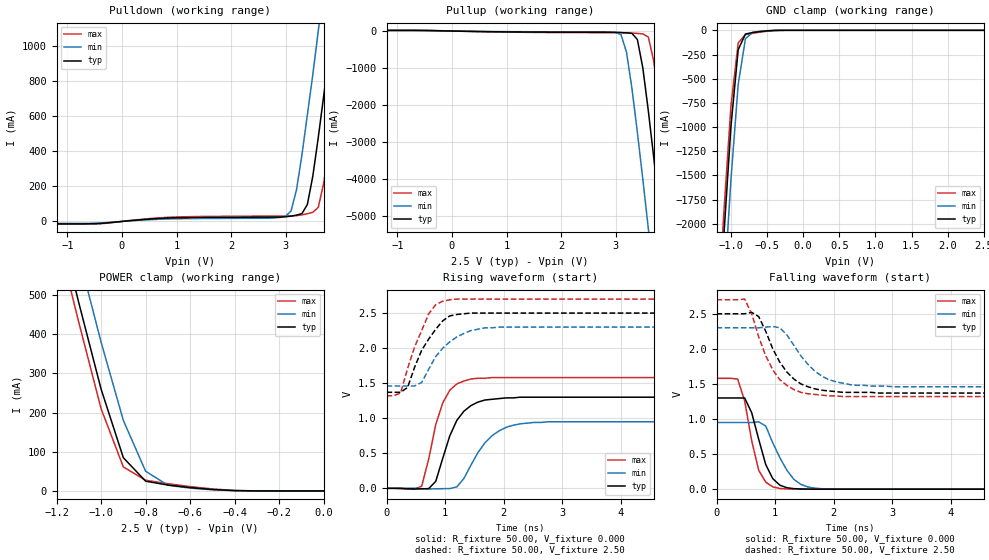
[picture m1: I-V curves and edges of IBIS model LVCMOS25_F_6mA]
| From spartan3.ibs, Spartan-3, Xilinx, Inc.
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|   Model LVCMOS25_F_6mA
[Model]   LVCMOS25_F_6mA
Model_type   I/O
Polarity   Non-Inverting
Enable   Active-Low
Vinl =   0.70V
Vinh =   1.70V
Vmeas =   1.25V
Cref =  0.000F
Rref =   1.00M
Vref =  0.000V
C_comp   6.38pF   4.60pF   8.23pF
[Temperature Range]   25.00   85.00   0.000
[Voltage Range]   2.50V   2.30V   2.70V
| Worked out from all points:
|   slope of the pulldown table from 0 to 0.375 V, typ, clamps not added: 35.8 ohm
|   slope of the pullup table from 0 to 0.375 V, typ, clamps not added: 34.9 ohm
|   GND clamp passes 1 mA (typ) near -0.38 V on its own axis
|   POWER clamp passes 1 mA (typ) near -0.41 V on its own axis
|   rising waveform, R_fixture 50.00, V_fixture 0.000: 20-80 % time 366ps typ, 466ps min, 301ps max; typ from 0 V to 1.3 V
|   rising waveform, R_fixture 50.00, V_fixture 2.50: 20-80 % time 419ps typ, 477ps min, 366ps max; typ from 1.37 V to 2.5 V
|   falling waveform, R_fixture 50.00, V_fixture 0.000: 20-80 % time 278ps typ, 364ps min, 228ps max; typ from 1.3 V to 0 V
|   falling waveform, R_fixture 50.00, V_fixture 2.50: 20-80 % time 463ps typ, 515ps min, 422ps max; typ from 2.5 V to 1.37 V
[Pulldown]
| voltage   I(typ)   I(min)   I(max)
-2.5V     -13.92mA   -11.1mA    -14.9mA
3V        26.47mA    29.6mA     30.78mA
3.1V      30.39mA    59.79mA    31.12mA
3.2V      36.13mA    180mA      32.96mA
3.4V      97.11mA    610mA      44.11mA
3.5V      260mA      840mA      52.23mA
3.6V      480mA      1.09A      80.71mA
3.7V      720mA      1.34A      220mA
3.8V      960mA      1.59A      430mA
4V        1.47A      2.1A       910mA
4.2V      1.98A      2.62A      1.42A
5V        4.06A      4.7A       3.49A
[Pullup]
| voltage   I(typ)   I(min)   I(max)
-2.5V     17.35mA    13.28mA    19.42mA
3.1V      -40.86mA   -100mA     -46.53mA
3.2V      -49.08mA   -570mA     -48.77mA
3.3V      -63.85mA   -1.55A     -54.99mA
3.4V      -230mA     -2.74A     -64.61mA
3.5V      -1A        -4.01A     -77.42mA
3.6V      -2.15A     -5.33A     -160mA
3.7V      -3.42A     -6.68A     -810mA
3.8V      -4.74A     -8.04A     -1.93A
4V        -7.47A     -10.81A    -4.51A
4.2V      -10.24A    -13.6A     -7.24A
5V        -21.56A    -24.91A    -18.51A
[GND_clamp]
| voltage   I(typ)   I(min)   I(max)
-2.5V     -21.56A    -22.07A    -21.35A
-1.2V     -3.41A     -4.01A     -3.17A
-1.1V     -2.14A     -2.73A     -1.9A
-1V       -990mA     -1.54A     -780mA
-900mV    -200mA     -560mA     -130mA
-800mV    -38.51mA   -87.42mA   -44.56mA
-700mV    -22.72mA   -20.52mA   -30.56mA
-400mV    -1.21mA    -970uA     -2.67mA
2.5V      19.29nA    8.49uA     24.01nA
[POWER_clamp]
| voltage   I(typ)   I(min)   I(max)
-2.5V     4.06A      4.18A      4.02A
-1.2V     710mA      840mA      660mA
-1.1V     480mA      600mA      430mA
-1V       260mA      380mA      210mA
-900mV    84.79mA    180mA      61.18mA
-800mV    24.88mA    50.29mA    27.26mA
-700mV    15.03mA    14.55mA    18.43mA
-600mV    8.66mA     7.1mA      11.09mA
-400mV    790uA      730uA      1.23mA
0V        19.29nA    79.37nA    32.11nA
[Ramp]
| variable   typ   min   max
dV/dt_r   0.78/0.36n   0.57/0.45n   0.95/0.28n
dV/dt_f   0.68/0.45n   0.50/0.51n   0.83/0.42n
R_load = 50.00
[Rising Waveform]
R_fixture = 50.00
V_fixture = 0.000
| time   V(typ)   V(min)   V(max)
0s        0V         2.16uV     0V
600ps     -7.36mV    -4.42mV    30.37mV
720ps     -4.03mV    -8.68mV    420mV
840ps     100mV      -7.01mV    910mV
960ps     430mV      -4.96mV    1.22V
1.08ns    750mV      -3.99mV    1.4V
1.32ns    1.1V       140mV      1.53V
1.68ns    1.26V      650mV      1.57V
2.16ns    1.29V      900mV      1.58V
6ns       1.3V       950mV      1.58V
[Rising Waveform]
R_fixture = 50.00
V_fixture = 2.50
V_fixture_min = 2.30
V_fixture_max = 2.70
| time   V(typ)   V(min)   V(max)
0s        1.37V      1.46V      1.32V
240ps     1.37V      1.46V      1.36V
360ps     1.44V      1.46V      1.71V
480ps     1.73V      1.46V      2.02V
600ps     1.97V      1.51V      2.25V
720ps     2.13V      1.7V       2.49V
960ps     2.39V      2V         2.67V
1.32ns    2.49V      2.21V      2.7V
1.68ns    2.5V       2.29V      2.7V
6ns       2.5V       2.3V       2.7V
[Falling Waveform]
R_fixture = 50.00
V_fixture = 0.000
| time   V(typ)   V(min)   V(max)
0s        1.3V       950mV      1.58V
360ps     1.3V       950mV      1.57V
480ps     1.3V       950mV      1.26V
600ps     1.09V      950mV      690mV
720ps     710mV      960mV      270mV
840ps     350mV      900mV      99.84mV
960ps     150mV      660mV      32.5mV
1.32ns    7.35mV     140mV      900uV
1.68ns    360uV      13.89mV    24.08uV
6ns       0V         1.7uV      690nV
[Falling Waveform]
R_fixture = 50.00
V_fixture = 2.50
V_fixture_min = 2.30
V_fixture_max = 2.70
| time   V(typ)   V(min)   V(max)
0s        2.5V       2.3V       2.7V
480ps     2.5V       2.3V       2.71V
600ps     2.52V      2.3V       2.5V
720ps     2.46V      2.3V       2.17V
840ps     2.25V      2.31V      1.9V
1.08ns    1.81V      2.3V       1.56V
1.44ns    1.5V       1.9V       1.38V
1.8ns     1.41V      1.61V      1.34V
2.28ns    1.38V      1.49V      1.32V
6ns       1.37V      1.46V      1.32V
